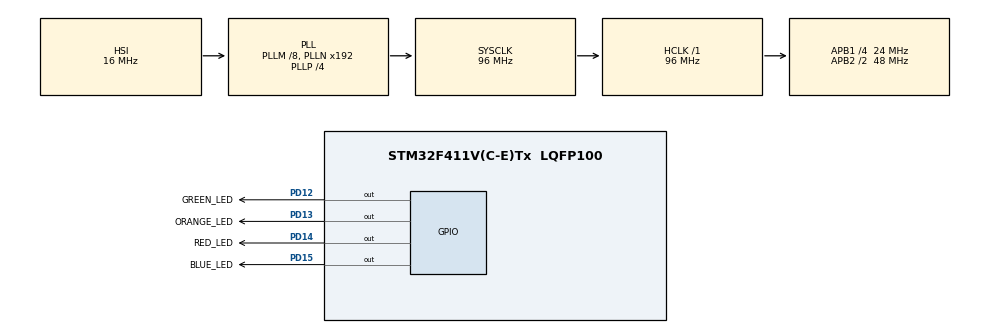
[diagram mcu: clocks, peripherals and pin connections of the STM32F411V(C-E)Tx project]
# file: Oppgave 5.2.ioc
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FREERTOS.Mutexes01=myMutex01,Dynamic,NULL,Available
FREERTOS.Tasks01=OrangeBlinkTask,24,128,StartOrangeBlinkTask,Default,NULL,Dynamic,NULL,NULL;RedBlinkTask,24,128,StartRedBlinkTask,Default,NULL,Dynamic,NULL,NULL;GreenBlinkTask,24,128,StartGreenBlinkTask,Default,NULL,Dynamic,NULL,NULL;BlueBlinkTask,24,128,StartBlueBlinkTask,Default,NULL,Dynamic,NULL,NULL
Mcu.Family=STM32F4
Mcu.Name=STM32F411V(C-E)Tx
Mcu.Package=LQFP100
NVIC.PriorityGroup=NVIC_PRIORITYGROUP_4
NVIC.TIM2_IRQn=true\:15\:0\:false\:false\:true\:false\:false\:true\:true
NVIC.TimeBase=TIM2_IRQn
NVIC.TimeBaseIP=TIM2
PD12.GPIO_Label=GREEN_LED
PD12.Signal=GPIO_Output
PD13.GPIO_Label=ORANGE_LED
PD13.Signal=GPIO_Output
PD14.GPIO_Label=RED_LED
PD14.Signal=GPIO_Output
PD15.GPIO_Label=BLUE_LED
PD15.Signal=GPIO_Output
ProjectManager.HeapSize=0x200
ProjectManager.StackSize=0x400
ProjectManager.TargetToolchain=STM32CubeIDE
RCC.48MHZClocksFreq_Value=48000000
RCC.AHBFreq_Value=96000000
RCC.APB1CLKDivider=RCC_HCLK_DIV4
RCC.APB1Freq_Value=24000000
RCC.APB1TimFreq_Value=48000000
RCC.APB2CLKDivider=RCC_HCLK_DIV2
RCC.APB2Freq_Value=48000000
RCC.APB2TimFreq_Value=96000000
RCC.CortexFreq_Value=96000000
RCC.HCLKFreq_Value=96000000
RCC.HSE_VALUE=8000000
RCC.HSI_VALUE=16000000
RCC.PLLI2SM=5
RCC.PLLI2SN=200
RCC.PLLM=8
RCC.PLLP=RCC_PLLP_DIV4
RCC.PLLQ=8
RCC.SYSCLKFreq_VALUE=96000000
RCC.SYSCLKSource=RCC_SYSCLKSOURCE_PLLCLK
RCC.VCOOutputFreq_Value=384000000
VP_FREERTOS_VS_CMSIS_V2.Mode=CMSIS_V2
VP_SYS_VS_tim2.Mode=TIM2
board=STM32F411E-DISCO

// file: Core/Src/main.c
/* USER CODE BEGIN Header */
/**
  ******************************************************************************
  * @file           : main.c
  * @brief          : Main program body
  ******************************************************************************
  * @attention
  *
  * Copyright (c) 2024 STMicroelectronics.
  * All rights reserved.
  *
  * This software is licensed under terms that can be found in the LICENSE file
  * in the root directory of this software component.
  * If no LICENSE file comes with this software, it is provided AS-IS.
  *
  ******************************************************************************
  */
/* USER CODE END Header */
#include "main.h"
#include "cmsis_os.h"

/* Definitions for OrangeBlinkTask */
osThreadId_t OrangeBlinkTaskHandle;
const osThreadAttr_t OrangeBlinkTask_attributes = {
  .name = "OrangeBlinkTask",
  .stack_size = 128 * 4,
  .priority = (osPriority_t) osPriorityNormal,
};
/* Definitions for RedBlinkTask */
osThreadId_t RedBlinkTaskHandle;
const osThreadAttr_t RedBlinkTask_attributes = {
  .name = "RedBlinkTask",
  .stack_size = 128 * 4,
  .priority = (osPriority_t) osPriorityNormal,
};
/* Definitions for GreenBlinkTask */
osThreadId_t GreenBlinkTaskHandle;
const osThreadAttr_t GreenBlinkTask_attributes = {
  .name = "GreenBlinkTask",
  .stack_size = 128 * 4,
  .priority = (osPriority_t) osPriorityNormal,
};
/* Definitions for BlueBlinkTask */
osThreadId_t BlueBlinkTaskHandle;
const osThreadAttr_t BlueBlinkTask_attributes = {
  .name = "BlueBlinkTask",
  .stack_size = 128 * 4,
  .priority = (osPriority_t) osPriorityNormal,
};
/* Definitions for myMutex01 */
osMutexId_t myMutex01Handle;
const osMutexAttr_t myMutex01_attributes = {
  .name = "myMutex01"
};

void SystemClock_Config(void);
static void MX_GPIO_Init(void);
void StartOrangeBlinkTask(void *argument);
void StartRedBlinkTask(void *argument);
void StartGreenBlinkTask(void *argument);
void StartBlueBlinkTask(void *argument);

/* USER CODE BEGIN PFP */

void ToggleLED (uint16_t pin_nr);

/* USER CODE END PFP */

int main(void)
{

  /* MCU Configuration--------------------------------------------------------*/

  /* Reset of all peripherals, Initializes the Flash interface and the Systick. */
  HAL_Init();

  /* Configure the system clock */
  SystemClock_Config();

  /* Initialize all configured peripherals */
  MX_GPIO_Init();

  /* Init scheduler */
  osKernelInitialize();
  /* Create the mutex(es) */
  /* creation of myMutex01 */
  myMutex01Handle = osMutexNew(&myMutex01_attributes);

  /* Create the thread(s) */
  /* creation of OrangeBlinkTask */
  OrangeBlinkTaskHandle = osThreadNew(StartOrangeBlinkTask, NULL, &OrangeBlinkTask_attributes);

  /* creation of RedBlinkTask */
  RedBlinkTaskHandle = osThreadNew(StartRedBlinkTask, NULL, &RedBlinkTask_attributes);

  /* creation of GreenBlinkTask */
  GreenBlinkTaskHandle = osThreadNew(StartGreenBlinkTask, NULL, &GreenBlinkTask_attributes);

  /* creation of BlueBlinkTask */
  BlueBlinkTaskHandle = osThreadNew(StartBlueBlinkTask, NULL, &BlueBlinkTask_attributes);

  /* Start scheduler */
  osKernelStart();

  /* We should never get here as control is now taken by the scheduler */

  /* Infinite loop */
  while (1)
  {

  }
}

void SystemClock_Config(void)
{
  RCC_OscInitTypeDef RCC_OscInitStruct = {0};
  RCC_ClkInitTypeDef RCC_ClkInitStruct = {0};

  /** Configure the main internal regulator output voltage
  */
  __HAL_RCC_PWR_CLK_ENABLE();
  __HAL_PWR_VOLTAGESCALING_CONFIG(PWR_REGULATOR_VOLTAGE_SCALE1);

  /** Initializes the RCC Oscillators according to the specified parameters
  * in the RCC_OscInitTypeDef structure.
  */
  RCC_OscInitStruct.OscillatorType = RCC_OSCILLATORTYPE_HSI;
  RCC_OscInitStruct.HSIState = RCC_HSI_ON;
  RCC_OscInitStruct.HSICalibrationValue = RCC_HSICALIBRATION_DEFAULT;
  RCC_OscInitStruct.PLL.PLLState = RCC_PLL_ON;
  RCC_OscInitStruct.PLL.PLLSource = RCC_PLLSOURCE_HSI;
  RCC_OscInitStruct.PLL.PLLM = 8;
  RCC_OscInitStruct.PLL.PLLN = 192;
  RCC_OscInitStruct.PLL.PLLP = RCC_PLLP_DIV4;
  RCC_OscInitStruct.PLL.PLLQ = 8;
  if (HAL_RCC_OscConfig(&RCC_OscInitStruct) != HAL_OK)
  {
    Error_Handler();
  }

  /** Initializes the CPU, AHB and APB buses clocks
  */
  RCC_ClkInitStruct.ClockType = RCC_CLOCKTYPE_HCLK|RCC_CLOCKTYPE_SYSCLK
                              |RCC_CLOCKTYPE_PCLK1|RCC_CLOCKTYPE_PCLK2;
  RCC_ClkInitStruct.SYSCLKSource = RCC_SYSCLKSOURCE_PLLCLK;
  RCC_ClkInitStruct.AHBCLKDivider = RCC_SYSCLK_DIV1;
  RCC_ClkInitStruct.APB1CLKDivider = RCC_HCLK_DIV4;
  RCC_ClkInitStruct.APB2CLKDivider = RCC_HCLK_DIV2;

  if (HAL_RCC_ClockConfig(&RCC_ClkInitStruct, FLASH_LATENCY_3) != HAL_OK)
  {
    Error_Handler();
  }
}

static void MX_GPIO_Init(void)
{
  GPIO_InitTypeDef GPIO_InitStruct = {0};

  /* GPIO Ports Clock Enable */
  __HAL_RCC_GPIOD_CLK_ENABLE();

  /*Configure GPIO pin Output Level */
  HAL_GPIO_WritePin(GPIOD, GREEN_LED_Pin|ORANGE_LED_Pin|RED_LED_Pin|BLUE_LED_Pin, GPIO_PIN_RESET);

  /*Configure GPIO pins : GREEN_LED_Pin ORANGE_LED_Pin RED_LED_Pin BLUE_LED_Pin */
  GPIO_InitStruct.Pin = GREEN_LED_Pin|ORANGE_LED_Pin|RED_LED_Pin|BLUE_LED_Pin;
  GPIO_InitStruct.Mode = GPIO_MODE_OUTPUT_PP;
  GPIO_InitStruct.Pull = GPIO_NOPULL;
  GPIO_InitStruct.Speed = GPIO_SPEED_FREQ_LOW;
  HAL_GPIO_Init(GPIOD, &GPIO_InitStruct);

}

/* USER CODE BEGIN 4 */

void ToggleLED (uint16_t pin_nr)
{
	// Toggle an LED on and off 5 times
	/* Without osMutexAcquire + osMutexRelease --> All four LEDs blink 5 times, at the same time */
	/* With osMutexAcquire + osMutexRelease --> Only one LED will blink 5 times before the next one starts */
	for (int i = 0; i < 5; ++i) {
		osMutexAcquire(myMutex01Handle, osWaitForever);

		HAL_GPIO_WritePin(GPIOD, pin_nr, GPIO_PIN_SET);
		osDelay(500);

		HAL_GPIO_WritePin(GPIOD, pin_nr, GPIO_PIN_RESET);
		osDelay(500);

		osMutexRelease(myMutex01Handle);
	}
}

/* USER CODE END 4 */

void StartOrangeBlinkTask(void *argument)
{
  /* USER CODE BEGIN 5 */
  /* Infinite loop */
  for(;;)
  {
	  ToggleLED(ORANGE_LED_Pin);
	  osDelay(100);
  }
  /* USER CODE END 5 */
}

void StartRedBlinkTask(void *argument)
{
  /* USER CODE BEGIN StartRedBlinkTask */
  /* Infinite loop */
  for(;;)
  {
	  ToggleLED(RED_LED_Pin);
	  osDelay(100);
  }
  /* USER CODE END StartRedBlinkTask */
}

void StartGreenBlinkTask(void *argument)
{
  /* USER CODE BEGIN StartGreenBlinkTask */
  /* Infinite loop */
  for(;;)
  {
	  ToggleLED(GREEN_LED_Pin);
	  osDelay(100);
  }
  /* USER CODE END StartGreenBlinkTask */
}

void StartBlueBlinkTask(void *argument)
{
  /* USER CODE BEGIN StartBlueBlinkTask */
  /* Infinite loop */
  for(;;)
  {
	  ToggleLED(BLUE_LED_Pin);
	  osDelay(100);
  }
  /* USER CODE END StartBlueBlinkTask */
}

void HAL_TIM_PeriodElapsedCallback(TIM_HandleTypeDef *htim)
{
  if (htim->Instance == TIM2) {
    HAL_IncTick();
  }
}

void Error_Handler(void)
{
  __disable_irq();
  while (1)
  {
  }
}
